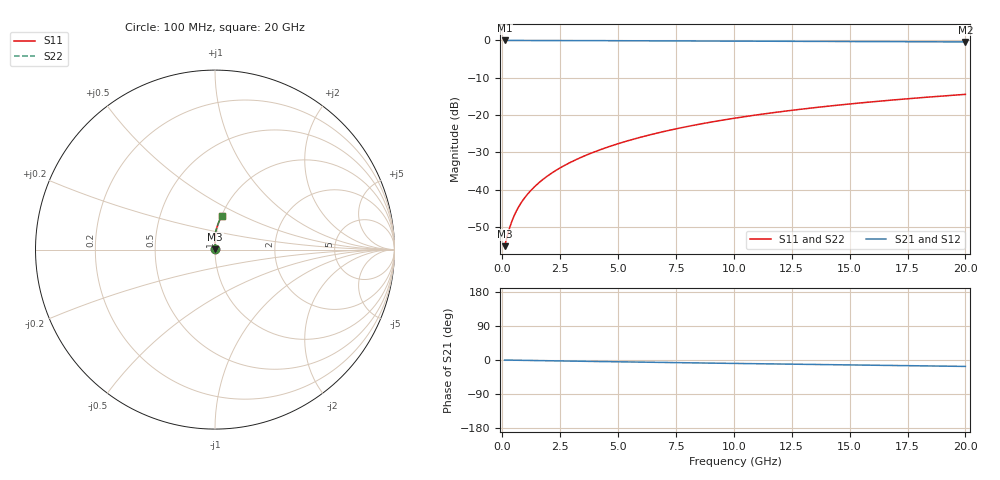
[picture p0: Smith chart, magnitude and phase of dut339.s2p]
! Touchstone file exported from HFSS 2024.1.0
!  File:  C:/UserFiles/LocalFiles/RDL_TSV_Batchsim/temp_RDL_top_339_1779607689.aedt
!  Generated:  03:30:29 PM May 24, 2026
!  Design:  RDL_top
!  Project:  temp_RDL_top_339_1779607689
!  Setup:  Setup1
!  Solution:  Sweep
! Variables:
!  dtsv = 10.80580581um
!  hbump = 3um
!  htsv = 72.21um
!  ldown = 100um
!  lrdl = 187.8um
!  p = 40
!  p1 = 59.44um
!  rhole = 1um
!  t = 450um
!  tdown = 3.915915916um
!  trdl = 2.16um
!  wdown = 15.38538539um
!  wrdl = 28.46um
# GHz S MA R 50.000000
! Terminal data exported
! Port[1] = Box2_T1
! Port[2] = Box2_T2
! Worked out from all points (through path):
!   200 points, 100 MHz to 20 GHz, reference 50 ohm
!   highest |S21| = -0.01 dB at 100 MHz (marker M1); lowest = -0.4 dB at 20 GHz (marker M2)
!   group delay of S21, straight-line fit = 2.32 ps
!   lowest |S11| = -55.2 dB at 100 MHz (marker M3), VSWR 1.00, Z = 50.2 + j0.0847 ohm
!   |S11| at or under -10 dB: start of sweep to end of sweep
!   |S22| runs from -55.2 to -14.5 dB; largest |S21 - S12| = 2.2e-15
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0.1  0.001741 29.0  0.9985 -0.1  0.9985 -0.1  0.001741 29.0
! Gamma 0 0 0 0
! Port Impedance 50 0 50 0
0.3  0.002956 57.1  0.9983 -0.3  0.9983 -0.3  0.002956 57.1
0.4  0.003662 63.2  0.9983 -0.4  0.9983 -0.4  0.003662 63.2
0.5  0.004377 67.3  0.9982 -0.5  0.9982 -0.5  0.004377 67.3
0.6  0.005096 70.3  0.9981 -0.6  0.9981 -0.6  0.005096 70.3
0.8  0.00654 74.6  0.9979 -0.8  0.9979 -0.8  0.00654 74.6
1.1  0.008735 78.8  0.9976 -1.1  0.9976 -1.1  0.008735 78.8
1.3  0.01022 80.7  0.9974 -1.3  0.9974 -1.3  0.01022 80.7
1.6  0.01249 83.0  0.9971 -1.6  0.9971 -1.6  0.01249 83.0
2.1  0.01636 85.6  0.9964 -2.1  0.9964 -2.1  0.01636 85.6
2.7  0.02117 87.6  0.9954 -2.7  0.9954 -2.7  0.02117 87.6
3.5  0.02785 89.3  0.9939 -3.4  0.9939 -3.4  0.02785 89.3
4.2  0.03395 90.2  0.9924 -4.1  0.9924 -4.1  0.03396 90.2
5  0.04119 90.7  0.9906 -4.8  0.9906 -4.8  0.04119 90.7
5.9  0.04962 90.9  0.9884 -5.6  0.9884 -5.6  0.04963 90.9
6.8  0.0583 90.7  0.9861 -6.4  0.9861 -6.4  0.0583 90.7
8.4  0.07414 89.8  0.9822 -7.7  0.9822 -7.7  0.07414 89.8
10.1  0.09126 88.4  0.978 -9.1  0.978 -9.1  0.09126 88.4
11.7  0.1074 86.9  0.9742 -10.4  0.9742 -10.4  0.1074 86.9
13.4  0.1245 85.2  0.9703 -11.8  0.9703 -11.8  0.1245 85.2
16.7  0.1572 81.9  0.9625 -14.4  0.9625 -14.4  0.1572 81.9
20  0.189 78.7  0.9546 -16.9  0.9546 -16.9  0.189 78.7
